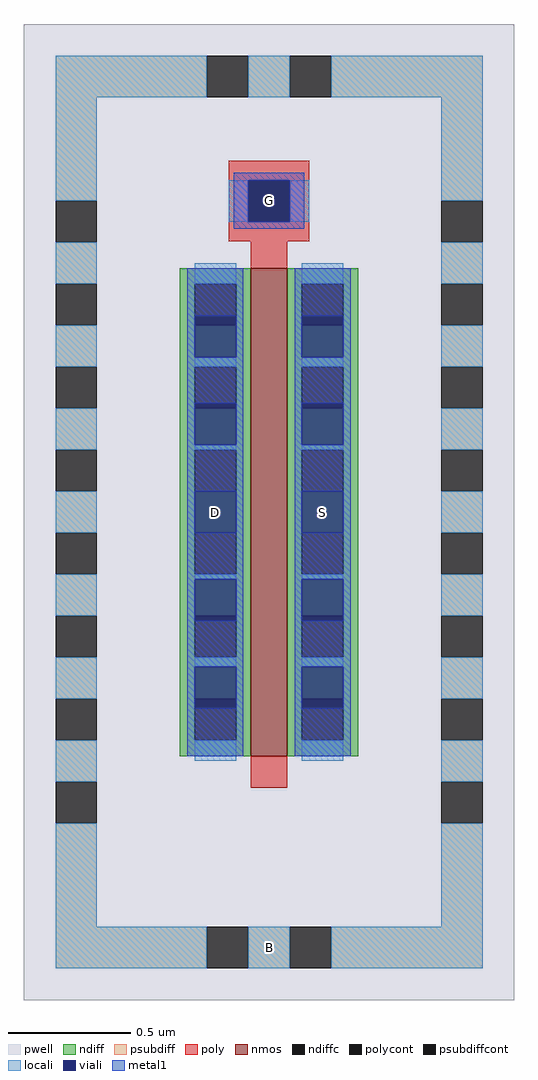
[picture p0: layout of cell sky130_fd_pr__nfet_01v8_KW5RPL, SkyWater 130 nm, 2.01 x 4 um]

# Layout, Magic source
magic
tech sky130A
magscale 1 2
<< pwell >>
rect -201 -400 201 400
<< nmos >>
rect -15 -200 15 200
<< ndiff >>
rect -73 187 -15 200
rect -73 153 -61 187
rect -27 153 -15 187
rect -73 119 -15 153
rect -73 85 -61 119
rect -27 85 -15 119
rect -73 51 -15 85
rect -73 17 -61 51
rect -27 17 -15 51
rect -73 -17 -15 17
rect -73 -51 -61 -17
rect -27 -51 -15 -17
rect -73 -85 -15 -51
rect -73 -119 -61 -85
rect -27 -119 -15 -85
rect -73 -153 -15 -119
rect -73 -187 -61 -153
rect -27 -187 -15 -153
rect -73 -200 -15 -187
rect 15 187 73 200
rect 15 153 27 187
rect 61 153 73 187
rect 15 119 73 153
rect 15 85 27 119
rect 61 85 73 119
rect 15 51 73 85
rect 15 17 27 51
rect 61 17 73 51
rect 15 -17 73 17
rect 15 -51 27 -17
rect 61 -51 73 -17
rect 15 -85 73 -51
rect 15 -119 27 -85
rect 61 -119 73 -85
rect 15 -153 73 -119
rect 15 -187 27 -153
rect 61 -187 73 -153
rect 15 -200 73 -187
<< ndiffc >>
rect -61 153 -27 187
rect -61 85 -27 119
rect -61 17 -27 51
rect -61 -51 -27 -17
rect -61 -119 -27 -85
rect -61 -187 -27 -153
rect 27 153 61 187
rect 27 85 61 119
rect 27 17 61 51
rect 27 -51 61 -17
rect 27 -119 61 -85
rect 27 -187 61 -153
<< psubdiff >>
rect -175 340 -51 374
rect -17 340 17 374
rect 51 340 175 374
rect -175 255 -141 340
rect 141 255 175 340
rect -175 187 -141 221
rect -175 119 -141 153
rect -175 51 -141 85
rect -175 -17 -141 17
rect -175 -85 -141 -51
rect -175 -153 -141 -119
rect -175 -221 -141 -187
rect 141 187 175 221
rect 141 119 175 153
rect 141 51 175 85
rect 141 -17 175 17
rect 141 -85 175 -51
rect 141 -153 175 -119
rect 141 -221 175 -187
rect -175 -340 -141 -255
rect 141 -340 175 -255
rect -175 -374 -51 -340
rect -17 -374 17 -340
rect 51 -374 175 -340
<< psubdiffcont >>
rect -51 340 -17 374
rect 17 340 51 374
rect -175 221 -141 255
rect 141 221 175 255
rect -175 153 -141 187
rect -175 85 -141 119
rect -175 17 -141 51
rect -175 -51 -141 -17
rect -175 -119 -141 -85
rect -175 -187 -141 -153
rect 141 153 175 187
rect 141 85 175 119
rect 141 17 175 51
rect 141 -51 175 -17
rect 141 -119 175 -85
rect 141 -187 175 -153
rect -175 -255 -141 -221
rect 141 -255 175 -221
rect -51 -374 -17 -340
rect 17 -374 51 -340
<< poly >>
rect -33 272 33 288
rect -33 238 -17 272
rect 17 238 33 272
rect -33 222 33 238
rect -15 200 15 222
rect -15 -226 15 -200
<< polycont >>
rect -17 238 17 272
<< locali >>
rect -175 340 -51 374
rect -17 340 17 374
rect 51 340 175 374
rect -175 255 -141 340
rect -33 238 -17 272
rect 17 238 33 272
rect 141 255 175 340
rect -175 187 -141 221
rect -175 119 -141 153
rect -175 51 -141 85
rect -175 -17 -141 17
rect -175 -85 -141 -51
rect -175 -153 -141 -119
rect -175 -221 -141 -187
rect -61 187 -27 204
rect -61 119 -27 127
rect -61 51 -27 55
rect -61 -55 -27 -51
rect -61 -127 -27 -119
rect -61 -204 -27 -187
rect 27 187 61 204
rect 27 119 61 127
rect 27 51 61 55
rect 27 -55 61 -51
rect 27 -127 61 -119
rect 27 -204 61 -187
rect 141 187 175 221
rect 141 119 175 153
rect 141 51 175 85
rect 141 -17 175 17
rect 141 -85 175 -51
rect 141 -153 175 -119
rect -175 -340 -141 -255
rect 141 -221 175 -187
rect 141 -340 175 -255
rect -175 -374 -51 -340
rect -17 -374 17 -340
rect 51 -374 175 -340
<< viali >>
rect -17 238 17 272
rect -61 153 -27 161
rect -61 127 -27 153
rect -61 85 -27 89
rect -61 55 -27 85
rect -61 -17 -27 17
rect -61 -85 -27 -55
rect -61 -89 -27 -85
rect -61 -153 -27 -127
rect -61 -161 -27 -153
rect 27 153 61 161
rect 27 127 61 153
rect 27 85 61 89
rect 27 55 61 85
rect 27 -17 61 17
rect 27 -85 61 -55
rect 27 -89 61 -85
rect 27 -153 61 -127
rect 27 -161 61 -153
<< metal1 >>
rect -29 272 29 278
rect -29 238 -17 272
rect 17 238 29 272
rect -29 232 29 238
rect -67 161 -21 200
rect -67 127 -61 161
rect -27 127 -21 161
rect -67 89 -21 127
rect -67 55 -61 89
rect -27 55 -21 89
rect -67 17 -21 55
rect -67 -17 -61 17
rect -27 -17 -21 17
rect -67 -55 -21 -17
rect -67 -89 -61 -55
rect -27 -89 -21 -55
rect -67 -127 -21 -89
rect -67 -161 -61 -127
rect -27 -161 -21 -127
rect -67 -200 -21 -161
rect 21 161 67 200
rect 21 127 27 161
rect 61 127 67 161
rect 21 89 67 127
rect 21 55 27 89
rect 61 55 67 89
rect 21 17 67 55
rect 21 -17 27 17
rect 61 -17 67 17
rect 21 -55 67 -17
rect 21 -89 27 -55
rect 61 -89 67 -55
rect 21 -127 67 -89
rect 21 -161 27 -127
rect 61 -161 67 -127
rect 21 -200 67 -161
<< labels >>
rlabel locali s 0 -357 0 -357 4 B
rlabel locali s -44 0 -44 0 4 D
rlabel locali s 44 0 44 0 4 S
rlabel locali s 0 255 0 255 4 G
<< properties >>
string FIXED_BBOX -158 -357 158 357
<< end >>
